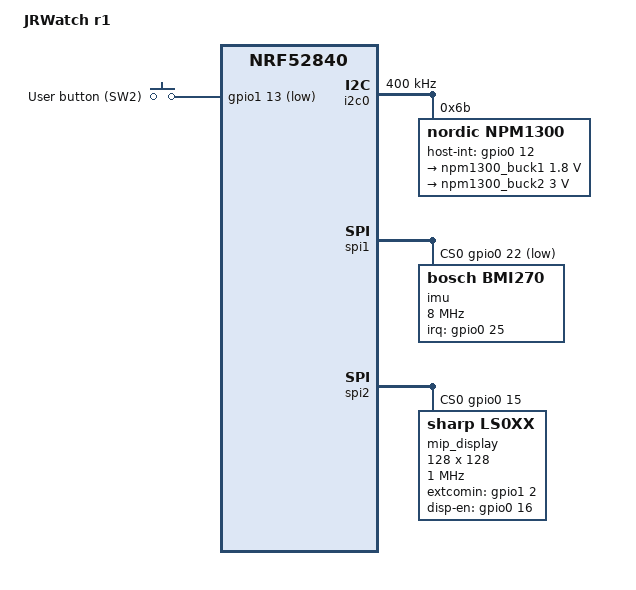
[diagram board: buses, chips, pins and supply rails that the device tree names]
/*
 * JRWatch r1 — Raytac MDBT50Q-1MV2 (nRF52840) wearable.
 * Pin map is the schematic of record (hardware/skidl/jrwatch.py):
 *   I2C0  SDA P0.14  SCL P0.13   -> nPM1300 PMIC (addr 0x6B)
 *   SPI1  SCK P0.19 MOSI P0.21 MISO P0.23 CS P0.22, INT1 P0.25 -> BMI270
 *   SPI2  SCK P0.17 MOSI P0.20 SCS P0.15 (active HIGH)          -> LS013B7DH03
 *         EXTCOMIN P1.02, DISP P0.16
 *   Button SW2 P1.13 (to GND, internal pull-up), SW1 -> PMIC SHPHLD only
 *   PMIC host interrupt: nPM1300 GPIO0 -> P0.12
 */

/dts-v1/;
#include <nordic/nrf52840_qiaa.dtsi>
#include <dt-bindings/regulator/npm1300.h>
#include <dt-bindings/regulator/nrf5x.h>
#include "jrwatch-pinctrl.dtsi"

/ {
	model = "JRWatch r1";
	compatible = "jr,jrwatch";

	chosen {
		zephyr,sram = &sram0;
		zephyr,flash = &flash0;
		zephyr,code-partition = &slot0_partition;
		zephyr,display = &mip_display;
	};

	buttons {
		compatible = "gpio-keys";
		button_user: button_0 {
			gpios = <&gpio1 13 (GPIO_PULL_UP | GPIO_ACTIVE_LOW)>;
			label = "User button (SW2)";
			zephyr,code = <INPUT_KEY_0>;
		};
	};

	aliases {
		sw0 = &button_user;
		watchdog0 = &wdt0;
	};
};

/* REG1 DC/DC: the buck inductor is inside the Raytac module (datasheet §2.6) */
&reg1 {
	regulator-initial-mode = <NRF5X_REG_MODE_DCDC>;
};

&gpio0 { status = "okay"; };
&gpio1 { status = "okay"; };
&gpiote { status = "okay"; };

&i2c0 {
	compatible = "nordic,nrf-twim";
	status = "okay";
	pinctrl-0 = <&i2c0_default>;
	pinctrl-1 = <&i2c0_sleep>;
	pinctrl-names = "default", "sleep";
	clock-frequency = <I2C_BITRATE_FAST>;

	npm1300: pmic@6b {
		compatible = "nordic,npm1300";
		reg = <0x6b>;
		host-int-gpios = <&gpio0 12 GPIO_ACTIVE_HIGH>;
		pmic-int-pin = <0>;

		npm1300_gpio: gpio-controller {
			compatible = "nordic,npm1300-gpio";
			gpio-controller;
			#gpio-cells = <2>;
			ngpios = <5>;
		};

		regulators {
			compatible = "nordic,npm1300-regulator";

			/* BUCK1: populated per reference config, held OFF by
			 * firmware (D-012) — 1.8 V experiment rail only. */
			npm1300_buck1: BUCK1 {
				regulator-min-microvolt = <1800000>;
				regulator-max-microvolt = <1800000>;
				regulator-boot-off;
			};

			/* BUCK2: 3.0 V always-on system rail (VSET2 strap =
			 * 150k -> 3.0 V, correct by hardware at power-on). */
			npm1300_buck2: BUCK2 {
				regulator-min-microvolt = <3000000>;
				regulator-max-microvolt = <3000000>;
				regulator-always-on;
			};

			/* LDO1 as load switch: display domain (VDD_DISP) */
			npm1300_lsw_disp: LDO1 {
				regulator-initial-mode = <NPM1300_LDSW_MODE_LDSW>;
				regulator-boot-off;
			};

			/* LDO2 as load switch: IMU VDD domain (VDD_IMU) */
			npm1300_lsw_imu: LDO2 {
				regulator-initial-mode = <NPM1300_LDSW_MODE_LDSW>;
				regulator-boot-off;
			};
		};

		npm1300_charger: charger {
			compatible = "nordic,npm1300-charger";
			/* 150 mAh pouch: 0.5C charge, 4.2 V termination */
			term-microvolt = <4200000>;
			term-warm-microvolt = <4000000>;
			current-microamp = <76000>;
			/* board NTC: Murata NCP15XH103F03RC 10k B=3380 (D-017) */
			thermistor-ohms = <10000>;
			thermistor-beta = <3380>;
			/* discharge limiter: 200 mA >> worst-case system peak */
			dischg-limit-microamp = <200000>;
			charging-enable;
			vbus-limit-microamp = <500000>;
		};
	};
};

&spi1 {
	compatible = "nordic,nrf-spim";
	status = "okay";
	pinctrl-0 = <&spi1_default>;
	pinctrl-1 = <&spi1_sleep>;
	pinctrl-names = "default", "sleep";
	cs-gpios = <&gpio0 22 GPIO_ACTIVE_LOW>;

	imu: bmi270@0 {
		compatible = "bosch,bmi270";
		reg = <0>;
		spi-max-frequency = <8000000>;
		irq-gpios = <&gpio0 25 GPIO_ACTIVE_HIGH>;
	};
};

&spi2 {
	compatible = "nordic,nrf-spim";
	status = "okay";
	pinctrl-0 = <&spi2_default>;
	pinctrl-1 = <&spi2_sleep>;
	pinctrl-names = "default", "sleep";
	/* Sharp SCS is ACTIVE HIGH */
	cs-gpios = <&gpio0 15 GPIO_ACTIVE_HIGH>;

	mip_display: ls013b7dh03@0 {
		compatible = "sharp,ls0xx";
		reg = <0>;
		spi-max-frequency = <1000000>;
		width = <128>;
		height = <128>;
		/* EXTMODE is strapped HIGH: COM inversion via EXTCOMIN pin */
		extcomin-gpios = <&gpio1 2 GPIO_ACTIVE_HIGH>;
		extcomin-frequency = <1>;
		disp-en-gpios = <&gpio0 16 GPIO_ACTIVE_HIGH>;
	};
};

&flash0 {
	partitions {
		compatible = "fixed-partitions";
		#address-cells = <1>;
		#size-cells = <1>;

		boot_partition: partition@0 {
			label = "mcuboot";
			reg = <0x0 0xc000>;
		};
		slot0_partition: partition@c000 {
			label = "image-0";
			reg = <0xc000 0x72000>;
		};
		slot1_partition: partition@7e000 {
			label = "image-1";
			reg = <0x7e000 0x72000>;
		};
		storage_partition: partition@f0000 {
			label = "storage";
			reg = <0xf0000 0x10000>;
		};
	};
};
